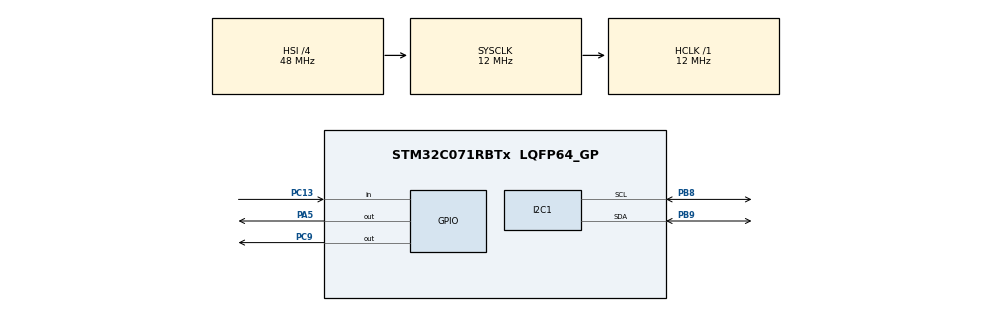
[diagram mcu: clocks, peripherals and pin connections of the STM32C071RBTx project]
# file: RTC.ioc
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I2C1.Timing=0x00402D41
Mcu.Family=STM32C0
Mcu.Name=STM32C071RBTx
Mcu.Package=LQFP64_GP
NUCLEO-C071RB.BUTTON=1
NUCLEO-C071RB.LD1=true
NUCLEO-C071RB.LD2=true
NUCLEO-C071RB.VCP=true
NVIC.EXTI4_15_IRQn=true\:0\:0\:false\:false\:true\:false\:true\:true
PA2.Signal=USART2_TX
PA3.Signal=USART2_RX
PA5.Signal=GPIO_Output
PB8.Mode=I2C
PB8.Signal=I2C1_SCL
PB9.Mode=I2C
PB9.Signal=I2C1_SDA
PC13.Signal=GPIO_Input
PC9.Signal=GPIO_Output
ProjectManager.HeapSize=0x200
ProjectManager.StackSize=0x400
ProjectManager.TargetToolchain=STM32CubeIDE
RCC.ADCFreq_Value=12000000
RCC.AHBFreq_Value=12000000
RCC.CortexFreq_Value=12000000
RCC.EXTERNAL_CLOCK_VALUE=12288000
RCC.HCLKFreq_Value=12000000
RCC.HSE_VALUE=8000000
RCC.HSI48_VALUE=48000000
RCC.HSI_VALUE=48000000
RCC.LSE_VALUE=32768
RCC.SYSCLKFreq_VALUE=12000000
VP_NUCLEO-C071RB_VS_BSP_COMMON.Mode=COMMON
board=NUCLEO-C071RB

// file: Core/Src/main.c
/* USER CODE BEGIN Header */
/**
  ******************************************************************************
  * @file           : main.c
  * @brief          : Main program body
  ******************************************************************************
  * @attention
  *
  * Copyright (c) 2026 STMicroelectronics.
  * All rights reserved.
  *
  * This software is licensed under terms that can be found in the LICENSE file
  * in the root directory of this software component.
  * If no LICENSE file comes with this software, it is provided AS-IS.
  *
  ******************************************************************************
  */
/* USER CODE END Header */
#include "main.h"

/* USER CODE BEGIN Includes */
/* USER CODE BEGIN Includes */
#include <stdio.h>
#include <string.h>
#include "ds3231.h"
/* USER CODE END Includes */
/* USER CODE END Includes */

COM_InitTypeDef BspCOMInit;

I2C_HandleTypeDef hi2c1;

/* USER CODE BEGIN PV */
DS3231_TimeTypeDef set_time;
DS3231_TimeTypeDef get_time;

char rtc_print_buffer[64];

DS3231_StatusTypeDef ds3231_status;
/* USER CODE END PV */

void SystemClock_Config(void);
static void MX_GPIO_Init(void);
static void MX_I2C1_Init(void);

int main(void)
{

  /* MCU Configuration--------------------------------------------------------*/

  /* Reset of all peripherals, Initializes the Flash interface and the Systick. */
  HAL_Init();

  /* Configure the system clock */
  SystemClock_Config();

  /* Initialize all configured peripherals */
  MX_GPIO_Init();
  MX_I2C1_Init();

  /* Initialize leds */
  BSP_LED_Init(LED_GREEN);
  BSP_LED_Init(LED_BLUE);

  /* Initialize USER push-button, will be used to trigger an interrupt each time it's pressed.*/
  BSP_PB_Init(BUTTON_USER, BUTTON_MODE_EXTI);

  /* Initialize COM1 port (115200, 8 bits (7-bit data + 1 stop bit), no parity */
  BspCOMInit.BaudRate   = 115200;
  BspCOMInit.WordLength = COM_WORDLENGTH_8B;
  BspCOMInit.StopBits   = COM_STOPBITS_1;
  BspCOMInit.Parity     = COM_PARITY_NONE;
  BspCOMInit.HwFlowCtl  = COM_HWCONTROL_NONE;
  if (BSP_COM_Init(COM1, &BspCOMInit) != BSP_ERROR_NONE)
  {
    Error_Handler();
  }
  /* USER CODE BEGIN BSP_COM_Init_After */

  printf("\r\nDS3231 project started\r\n");

  /* 1. Initialize + detect DS3231 */
  ds3231_status = DS3231_Init(&hi2c1);

  if (ds3231_status == DS3231_OK)
  {
      printf("DS3231 detected successfully\r\n");
  }
  else
  {
      printf("DS3231 not detected\r\n");
      Error_Handler();
  }

  /* 2. Fill set_time struct */
  set_time.seconds = 0;
  set_time.minutes = 15;
  set_time.hours   = 15;
  set_time.day     = 2;
  set_time.date    = 6;
  set_time.month   = 5;
  set_time.year    = 26;

//  if (DS3231_SetTime(&set_time) == DS3231_OK)
//  {
//      printf("DS3231 time set successfully\r\n");
//  }
//  else
//  {
//      printf("DS3231 time set failed\r\n");
//  }

  /* Infinite loop */
  /* USER CODE BEGIN WHILE */
  while (1)
  {
      if (DS3231_GetTime(&get_time) == DS3231_OK)
      {
          snprintf(rtc_print_buffer,
                   sizeof(rtc_print_buffer),
                   "Time: %02d:%02d:%02d  Date: %02d/%02d/20%02d\r\n",
                   get_time.hours,
                   get_time.minutes,
                   get_time.seconds,
                   get_time.date,
                   get_time.month,
                   get_time.year);

          printf("%s", rtc_print_buffer);
          BSP_LED_Toggle(LED_GREEN);
      }
      else
      {
          printf("DS3231 get time failed\r\n");
          BSP_LED_Toggle(LED_BLUE);
      }

      HAL_Delay(1000);

      /* USER CODE END WHILE */

  }
}
void SystemClock_Config(void)
{
  RCC_OscInitTypeDef RCC_OscInitStruct = {0};
  RCC_ClkInitTypeDef RCC_ClkInitStruct = {0};

  __HAL_FLASH_SET_LATENCY(FLASH_LATENCY_0);

  /** Initializes the RCC Oscillators according to the specified parameters
  * in the RCC_OscInitTypeDef structure.
  */
  RCC_OscInitStruct.OscillatorType = RCC_OSCILLATORTYPE_HSI;
  RCC_OscInitStruct.HSIState = RCC_HSI_ON;
  RCC_OscInitStruct.HSIDiv = RCC_HSI_DIV4;
  RCC_OscInitStruct.HSICalibrationValue = RCC_HSICALIBRATION_DEFAULT;
  if (HAL_RCC_OscConfig(&RCC_OscInitStruct) != HAL_OK)
  {
    Error_Handler();
  }

  /** Initializes the CPU, AHB and APB buses clocks
  */
  RCC_ClkInitStruct.ClockType = RCC_CLOCKTYPE_HCLK|RCC_CLOCKTYPE_SYSCLK
                              |RCC_CLOCKTYPE_PCLK1;
  RCC_ClkInitStruct.SYSCLKSource = RCC_SYSCLKSOURCE_HSI;
  RCC_ClkInitStruct.SYSCLKDivider = RCC_SYSCLK_DIV1;
  RCC_ClkInitStruct.AHBCLKDivider = RCC_HCLK_DIV1;
  RCC_ClkInitStruct.APB1CLKDivider = RCC_APB1_DIV1;

  if (HAL_RCC_ClockConfig(&RCC_ClkInitStruct, FLASH_LATENCY_0) != HAL_OK)
  {
    Error_Handler();
  }
}

static void MX_I2C1_Init(void)
{

  hi2c1.Instance = I2C1;
  hi2c1.Init.Timing = 0x00402D41;
  hi2c1.Init.OwnAddress1 = 0;
  hi2c1.Init.AddressingMode = I2C_ADDRESSINGMODE_7BIT;
  hi2c1.Init.DualAddressMode = I2C_DUALADDRESS_DISABLE;
  hi2c1.Init.OwnAddress2 = 0;
  hi2c1.Init.OwnAddress2Masks = I2C_OA2_NOMASK;
  hi2c1.Init.GeneralCallMode = I2C_GENERALCALL_DISABLE;
  hi2c1.Init.NoStretchMode = I2C_NOSTRETCH_DISABLE;
  if (HAL_I2C_Init(&hi2c1) != HAL_OK)
  {
    Error_Handler();
  }

  /** Configure Analogue filter
  */
  if (HAL_I2CEx_ConfigAnalogFilter(&hi2c1, I2C_ANALOGFILTER_ENABLE) != HAL_OK)
  {
    Error_Handler();
  }

  /** Configure Digital filter
  */
  if (HAL_I2CEx_ConfigDigitalFilter(&hi2c1, 0) != HAL_OK)
  {
    Error_Handler();
  }

}

static void MX_GPIO_Init(void)
{

  /* GPIO Ports Clock Enable */
  __HAL_RCC_GPIOB_CLK_ENABLE();

}

void Error_Handler(void)
{
  __disable_irq();
  while (1)
  {
  }
}
